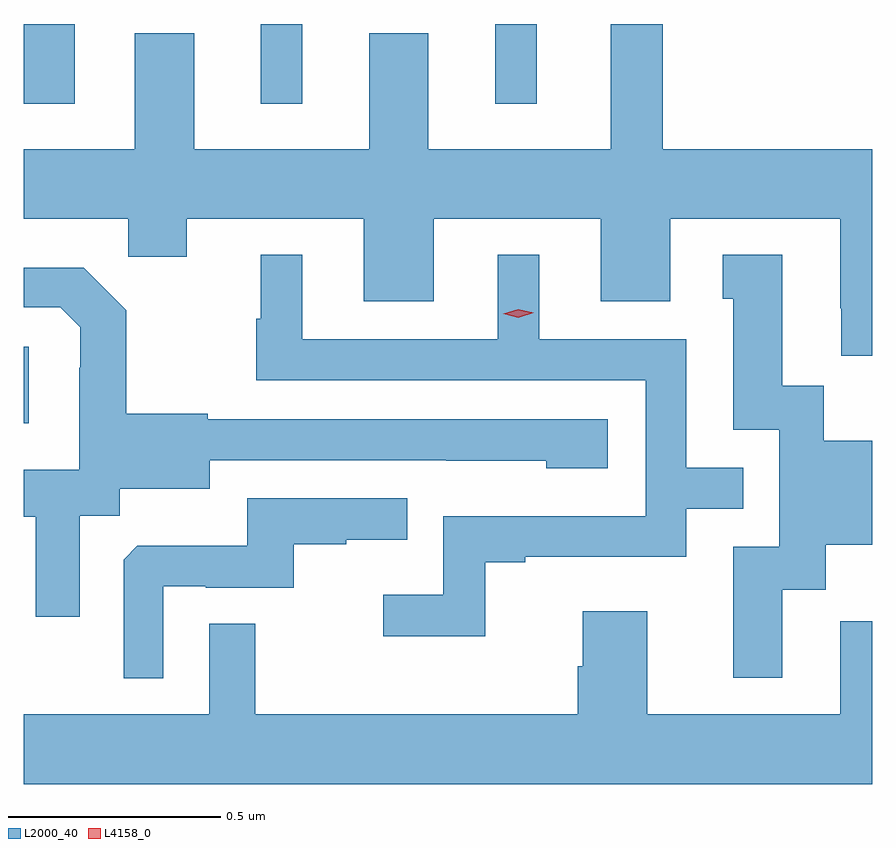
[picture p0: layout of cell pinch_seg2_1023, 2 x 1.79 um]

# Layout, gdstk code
import gdstk
lib = gdstk.Library(unit=1e-6, precision=1e-09)
def R(c, l, rs):  # rectangles x0, y0, x1, y1
    for r in rs: c.add(gdstk.rectangle(r[:2], r[2:], *l))
def P(c, l, *ps):  # polygons
    for p in ps: c.add(gdstk.Polygon(p, *l))
L2000_40 = (2000, 40)
L4158_0 = (4158, 0)

pinch_seg2_1023 = lib.new_cell('pinch_seg2_1023')
R(pinch_seg2_1023, L2000_40, [(162.853,588.546,162.865,588.726), (162.853,589.299,162.973,589.487), (163.412,589.299,163.51,589.487), (163.964,589.299,164.062,589.487)])
P(pinch_seg2_1023, L2000_40, [(164.853,589.192),(164.359,589.192),(164.359,589.487),(164.237,589.487),(164.237,589.192),(163.807,589.192),(163.807,589.465),(163.667,589.465),(163.667,589.192),(163.255,589.192),(163.255,589.465),(163.115,589.465),(163.115,589.192),(162.853,589.192),(162.853,589.028),(163.099,589.028),(163.099,588.938),(163.237,588.938),(163.237,589.028),(163.655,589.028),(163.655,588.834),(163.819,588.834),(163.819,589.028),(164.213,589.028),(164.213,588.834),(164.377,588.834),(164.377,589.028),(164.777,589.028),(164.777,588.817),(164.78,588.817),(164.78,588.705),(164.853,588.705)],
  [(163.941,588.219),(164.035,588.219),(164.035,588.231),(164.415,588.231),(164.415,588.345),(164.549,588.345),(164.549,588.441),(164.415,588.441),(164.415,588.744),(164.068,588.744),(164.068,588.943),(163.97,588.943),(163.97,588.744),(163.51,588.744),(163.51,588.943),(163.412,588.943),(163.412,588.792),(163.401,588.792),(163.401,588.648),(164.319,588.648),(164.319,588.327),(163.842,588.327),(163.842,588.142),(163.701,588.142),(163.701,588.044),(163.941,588.044)],
  [(164.641,588.154),(164.743,588.154),(164.743,588.26),(164.853,588.26),(164.853,588.505),(164.739,588.505),(164.739,588.635),(164.641,588.635),(164.641,588.943),(164.501,588.943),(164.501,588.84),(164.525,588.84),(164.525,588.531),(164.634,588.531),(164.634,588.255),(164.525,588.255),(164.525,587.946),(164.641,587.946)],
  [(162.985,588.328),(163.08,588.328),(163.08,588.392),(163.291,588.392),(163.291,588.459),(163.849,588.459),(163.849,588.458),(164.085,588.458),(164.085,588.44),(164.23,588.44),(164.23,588.555),(163.287,588.555),(163.287,588.568),(163.095,588.568),(163.095,588.813),(162.995,588.913),(162.853,588.913),(162.853,588.819),(162.939,588.819),(162.986,588.772),(162.986,588.677),(162.984,588.677),(162.984,588.436),(162.853,588.436),(162.853,588.326),(162.881,588.326),(162.881,588.09),(162.985,588.09)],
  [(163.182,588.162),(163.282,588.162),(163.282,588.159),(163.49,588.159),(163.49,588.261),(163.613,588.261),(163.613,588.272),(163.757,588.272),(163.757,588.369),(163.38,588.369),(163.38,588.257),(163.121,588.257),(163.089,588.225),(163.089,587.945),(163.182,587.945)],
  [(164.853,588.079),(164.777,588.079),(164.777,587.86),(164.323,587.86),(164.323,588.103),(164.171,588.103),(164.171,587.973),(164.159,587.973),(164.159,587.86),(163.399,587.86),(163.399,588.074),(163.29,588.074),(163.29,587.86),(162.853,587.86),(162.853,587.696),(164.853,587.696)])
P(pinch_seg2_1023, L4158_0, [(164.019,588.795),(163.983,588.804),(163.983,588.804),(163.983,588.804),(164.019,588.815),(164.055,588.807),(164.055,588.807),(164.055,588.806)])

lib.write_gds('pinch_seg2_1023.gds')
